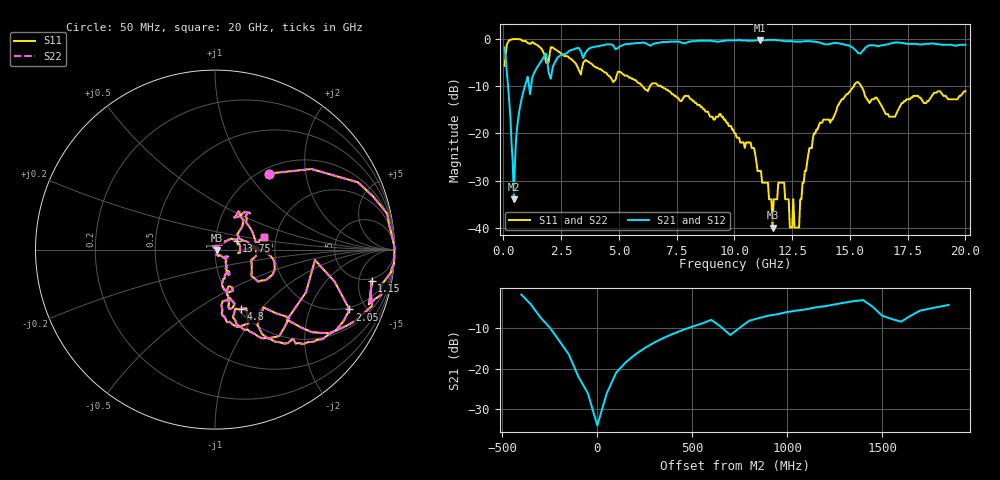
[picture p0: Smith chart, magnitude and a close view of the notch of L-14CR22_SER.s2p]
# MHZ S MA R 50
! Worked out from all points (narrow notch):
!   400 points, 50 MHz to 20 GHz, reference 50 ohm
!   highest |S21| = -0.18 dB at 11.1 GHz (marker M1); lowest = -34.0 dB at 450 MHz (marker M2)
!   notch at M2: 33.0 dB deep, 314 MHz wide at half that depth
!   lowest |S11| = -40.0 dB at 11.65 GHz (marker M3), VSWR 1.02, Z = 51 - j0.339 ohm
!   |S11| at or under -10 dB: 6.019 GHz to 6.341 GHz (322.1 MHz wide, 5.21 % of centre); 6.819 GHz to 15.17 GHz (8.347 GHz wide, 75.9 % of centre); 15.48 GHz to end of sweep
!   |S22| runs from -40.0 to 0.0 dB; largest |S21 - S12| = 0
!   S11 on the Smith chart (normalised r, x): 50 MHz: 1.09, +1.27; 1.15 GHz: 4.52, -7.52; 2.05 GHz: 1.88, -3.83; 4.8 GHz: 1.03, -0.78; 13.75 GHz: 1.27, +0.13; 20 GHz: 1.72, +0.27
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50  0.52 54.6  0.82 -28.8  0.82 -28.8  0.52 54.6
150  0.88 25.2  0.43 -59.8  0.43 -59.8  0.88 25.2
450  1 -2.6  0.02 68.3  0.02 68.3  1 -2.6
650  1 -4.7  0.15 78.7  0.15 78.7  1 -4.7
1150  0.89 -11.2  0.26 50.5  0.26 50.5  0.89 -11.2
1850  0.56 -44.2  0.7 29.6  0.7 29.6  0.56 -44.2
1950  0.56 -6.0  0.45 2.8  0.45 2.8  0.56 -6.0
2050  0.82 -24.0  0.38 49.7  0.38 49.7  0.82 -24.0
3400  0.49 -46.3  0.69 21.7  0.69 21.7  0.49 -46.3
4800  0.36 -66.6  0.82 13.5  0.82 13.5  0.36 -66.6
6700  0.32 -76.6  0.91 8.0  0.91 8.0  0.32 -76.6
10050  0.1 -52.2  0.97 -8.9  0.97 -8.9  0.1 -52.2
11100  0.04 -58.5  0.98 -13.0  0.98 -13.0  0.04 -58.5
11450  0.03 -66.2  0.98 -14.6  0.98 -14.6  0.03 -66.2
11650  0.01 -19.4  0.98 -15.9  0.98 -15.9  0.01 -19.4
11900  0.03 56.7  0.97 -17.4  0.97 -17.4  0.03 56.7
12800  0.01 57.2  0.94 -20.3  0.94 -20.3  0.01 57.2
13350  0.07 37.6  0.94 -23.3  0.94 -23.3  0.07 37.6
13750  0.13 22.2  0.91 -26.6  0.91 -26.6  0.13 22.2
15300  0.35 -18.0  0.74 -30.9  0.74 -30.9  0.35 -18.0
16700  0.15 23.4  0.89 -25.1  0.89 -25.1  0.15 23.4
20000  0.28 14.9  0.87 -42.9  0.87 -42.9  0.28 14.9
